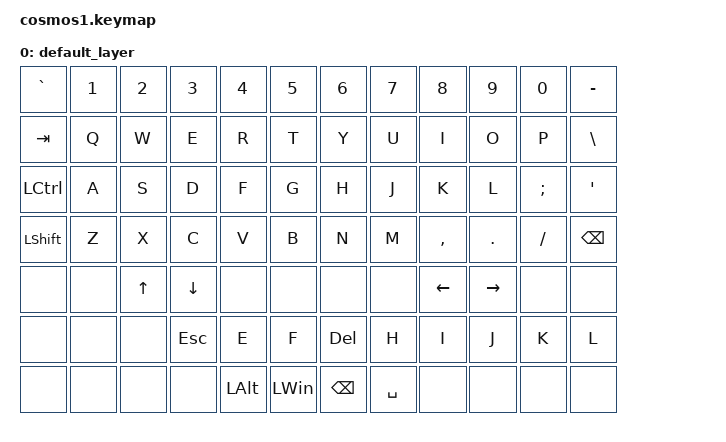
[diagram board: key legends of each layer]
// This file was generated from a template. Edit it to match your keyboard.
// See https://zmk.dev/docs/development/hardware-integration/new-shield for more instructions.

#include <behaviors.dtsi>
#include <dt-bindings/zmk/keys.h>

/ {
    // Define a default keymap here.
    // See https://zmk.dev/docs/development/hardware-integration/new-shield#default-keymap.
    keymap {
        compatible = "zmk,keymap";

        default_layer {
            bindings = <
                &kp GRAVE  &kp N1   &kp N2   &kp N3   &kp N4   &kp N5      &kp N6   &kp N7    &kp N8    &kp N9    &kp N0   &kp MINUS
                &kp TAB    &kp Q    &kp W    &kp E    &kp R    &kp T       &kp Y    &kp U     &kp I     &kp O     &kp P    &kp BSLH
                &kp LCTRL  &kp A    &kp S    &kp D    &kp F    &kp G       &kp H    &kp J     &kp K     &kp L     &kp SEMI &kp SQT
                &kp LSHFT  &kp Z    &kp X    &kp C    &kp V    &kp B       &kp N    &kp M     &kp COMMA &kp DOT   &kp FSLH &kp BSPC
                &none      &none    &kp UP   &kp DOWN &none    &none       &none    &none     &kp LEFT  &kp RIGHT &none    &none
                &none      &none    &none    &kp ESC  &kp E    &kp F       &kp DEL  &kp H     &kp I     &kp J     &kp K    &kp L
                &none      &none    &none    &none    &kp LALT &kp LWIN    &kp BSPC &kp SPACE &none     &none     &none    &none
            >;
        };
    };
};
